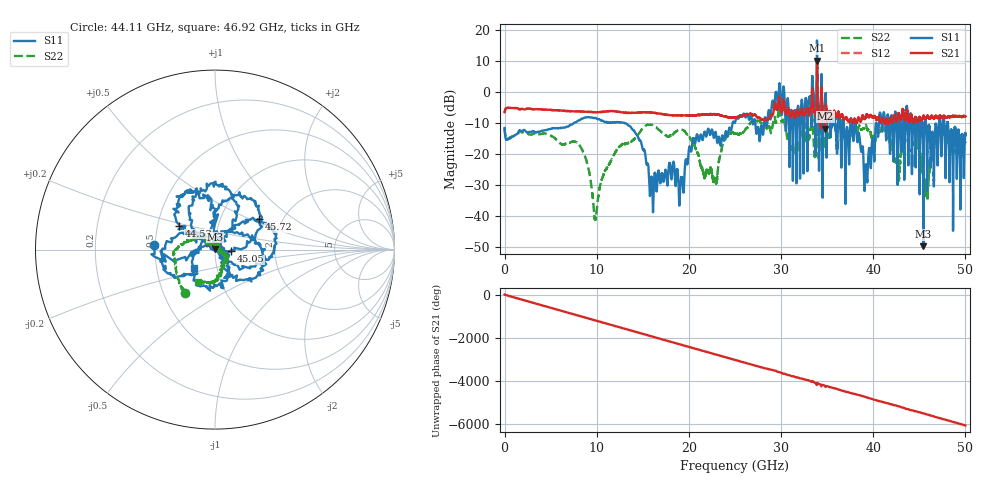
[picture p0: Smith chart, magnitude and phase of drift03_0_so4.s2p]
!Created with skrf (http://scikit-rf.org).
# Hz S RI R 50.0
!freq ReS11 ImS11 ReS21 ImS21 ReS12 ImS12 ReS22 ImS22
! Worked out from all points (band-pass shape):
!   10001 points, 300 kHz to 50 GHz, reference 50 ohm
!   highest |S21| = 10.20 dB at 33.9 GHz (marker M1); lowest = -11.7 dB at 34.81 GHz (marker M2)
!   |S21| within 3 dB of the highest: 33.88929 GHz to 33.91186 GHz (22.57 MHz wide, 0.0666 % of centre)
!   lowest |S11| = -49.7 dB at 45.44 GHz (marker M3), VSWR 1.01, Z = 50.1 + j0.322 ohm
!   |S11| at or under -10 dB: start of sweep to 7.486 GHz; 13.11 GHz to 24.74 GHz (11.63 GHz wide, 61.4 % of centre); 38.08 GHz to 40.3 GHz (2.219 GHz wide, 5.66 % of centre) (the widest 3 of 57)
!   |S22| runs from -41.2 to 2.3 dB; largest |S21 - S12| = 0.24
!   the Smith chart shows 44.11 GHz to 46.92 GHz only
!   S11 on the Smith chart (normalised r, x): 44.11 GHz: 0.49, +0.03; 44.53 GHz: 0.65, +0.18; 45.05 GHz: 1.19, -0.02; 45.72 GHz: 1.53, +0.57; 46.92 GHz: 0.78, -0.16
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300000  -0.2377 -0.1164  0.4679 0.0776  0.4664 0.0777  -0.2358 -0.1237
1.440291e9  0.21 0.0643  -0.5477 -0.029  -0.548 -0.0287  0.211 -0.00487
2.915283e9  -0.2119 -0.0875  0.5335 0.0505  0.5347 0.0508  -0.203 0.0401
4.415274e9  0.2066 0.1314  -0.5216 -0.0408  -0.5218 -0.0405  0.1967 -0.0876
8.33525e9  0.2879 -0.2342  0.1479 0.4649  0.1482 0.4653  -0.0734 -0.1
9.855241e9  -0.3602 0.1355  -0.1589 -0.4478  -0.1593 -0.4484  0.00887 0.00276
1.66702e10  0.0285 0.0448  -0.3762 0.2561  -0.376 0.2562  -0.1257 -0.2171
2.500015e10  -0.3252 -0.0106  -0.2576 -0.2932  -0.2566 -0.2942  -0.2124 0.0285
2.931512e10  -0.0348 0.7258  0.0404 0.6609  -0.0061 0.7469  0.1813 0.3495
3.084511e10  0.327 -0.0366  -0.2461 -0.4454  -0.2496 -0.4408  -0.1934 -0.0566
3.33351e10  0.4906 -0.7474  0.2196 -0.7791  0.2195 -0.76  -0.1856 -0.3853
3.39001e10  0.7617 -6.657  -3.158 -0.706  -3.016 -0.5102  -0.1996 1.285
3.480509e10  -0.7935 0.0762  0.0518 0.254  0.046 0.3249  0.0934 -0.1307
3.919506e10  0.0639 0.0106  0.1886 -0.3619  0.1947 -0.356  -0.2722 -0.1134
4.167005e10  -0.1716 0.3066  0.3071 0.0076  0.3091 0.0136  -0.1924 -0.00994
4.411004e10  -0.3395 0.0273  0.2518 0.3477  0.2466 0.3501  -0.1695 -0.242
4.453003e10  -0.1984 0.1335  0.3831 0.0455  0.3829 0.0445  -0.2306 -0.028
4.505003e10  0.0879 -0.0099  0.2871 -0.2764  0.2844 -0.2776  -0.0752 0.0773
4.543503e10  0.000641 0.00322  -0.0293 -0.4084  -0.0273 -0.408  -0.0268 0.0354
4.571503e10  0.2467 0.1687  -0.2284 -0.2995  -0.2263 -0.3008  0.00281 0.0378
4.692002e10  -0.1156 -0.1018  0.0435 0.3913  0.0423 0.3917  -0.0927 -0.1782
5e10  -0.1089 -0.1816  0.1496 0.3787  0.1445 0.3787  -0.0542 -0.1429
